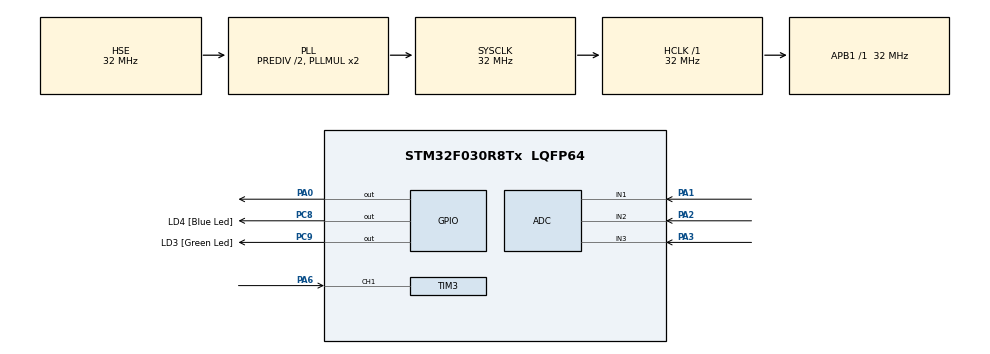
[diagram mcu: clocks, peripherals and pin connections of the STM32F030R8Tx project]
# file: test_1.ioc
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ADC.DMAContinuousRequests=DISABLE
ADC.EOCSelection=ADC_EOC_SEQ_CONV
ADC.ExternalTrigConv=ADC_EXTERNALTRIGCONV_T15_TRGO
ADC.SamplingTime=ADC_SAMPLETIME_13CYCLES_5
Dma.ADC.0.Direction=DMA_PERIPH_TO_MEMORY
Dma.ADC.0.Instance=DMA1_Channel1
Dma.ADC.0.MemDataAlignment=DMA_MDATAALIGN_HALFWORD
Dma.ADC.0.MemInc=DMA_MINC_ENABLE
Dma.ADC.0.Mode=DMA_CIRCULAR
Dma.ADC.0.PeriphDataAlignment=DMA_PDATAALIGN_HALFWORD
Dma.ADC.0.PeriphInc=DMA_PINC_DISABLE
Dma.ADC.0.Priority=DMA_PRIORITY_LOW
Dma.Request0=ADC
Mcu.Family=STM32F0
Mcu.Name=STM32F030R8Tx
Mcu.Package=LQFP64
NVIC.DMA1_Channel1_IRQn=true\:0\:0\:false\:false\:true\:false\:true\:true
NVIC.TIM15_IRQn=true\:0\:0\:false\:false\:true\:true\:true\:true
NVIC.TIM3_IRQn=true\:0\:0\:false\:false\:true\:true\:true\:true
PA0.GPIO_Speed=GPIO_SPEED_FREQ_HIGH
PA0.PinState=GPIO_PIN_RESET
PA0.Signal=GPIO_Output
PA1.Mode=IN1
PA1.Signal=ADC_IN1
PA13.GPIO_Label=SWDIO
PA13.Mode=Serial_Wire
PA13.Signal=SYS_SWDIO
PA14.GPIO_Label=SWCLK
PA14.Mode=Serial_Wire
PA14.Signal=SYS_SWCLK
PA2.Mode=IN2
PA2.Signal=ADC_IN2
PA3.Mode=IN3
PA3.Signal=ADC_IN3
PA6.Signal=S_TIM3_CH1
PC8.GPIO_Label=LD4 [Blue Led]
PC8.Signal=GPIO_Output
PC9.GPIO_Label=LD3 [Green Led]
PC9.Signal=GPIO_Output
PF0-OSC_IN.Mode=HSE-External-Oscillator
PF0-OSC_IN.Signal=RCC_OSC_IN
PF1-OSC_OUT.Mode=HSE-External-Oscillator
PF1-OSC_OUT.Signal=RCC_OSC_OUT
ProjectManager.HeapSize=0x200
ProjectManager.StackSize=0x400
ProjectManager.TargetToolchain=STM32CubeIDE
RCC.AHBFreq_Value=32000000
RCC.APB1Freq_Value=32000000
RCC.APB1TimFreq_Value=32000000
RCC.HCLKFreq_Value=32000000
RCC.HSE_VALUE=32000000
RCC.PLLDivider=RCC_PREDIV_DIV2
RCC.PLLSourceVirtual=RCC_PLLSOURCE_HSE
RCC.SYSCLKFreq_VALUE=32000000
RCC.SYSCLKSource=RCC_SYSCLKSOURCE_PLLCLK
SH.S_TIM3_CH1.0=TIM3_CH1,Input_Capture1_from_TI1
SH.S_TIM3_CH1.1=TIM3_CH1,Input_Capture2_from_TI1
TIM15.Period=1
TIM15.Prescaler=1999
TIM15.TIM_MasterOutputTrigger=TIM_TRGO_UPDATE
TIM3.Channel-Input_Capture1_from_TI1=TIM_CHANNEL_1
TIM3.Channel-Input_Capture2_from_TI1=TIM_CHANNEL_2
TIM3.ICPolarity_CH2=TIM_INPUTCHANNELPOLARITY_FALLING
TIM3.Period=65535
TIM3.Prescaler=7
VP_TIM15_VS_ClockSourceINT.Mode=Internal
VP_TIM3_VS_ClockSourceINT.Mode=Internal
board=32F0308DISCOVERY

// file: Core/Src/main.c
/* USER CODE BEGIN Header */
/**
  ******************************************************************************
  * @file           : main.c
  * @brief          : Main program body
  ******************************************************************************
  * @attention
  *
  * <h2><center>&copy; Copyright (c) 2022 STMicroelectronics.
  * All rights reserved.</center></h2>
  *
  * This software component is licensed by ST under BSD 3-Clause license,
  * the "License"; You may not use this file except in compliance with the
  * License. You may obtain a copy of the License at:
  *                        opensource.org/licenses/BSD-3-Clause
  *
  ******************************************************************************
  */
/* USER CODE END Header */

#include "main.h"

/* USER CODE BEGIN Includes */

#include <math.h>

/* USER CODE END Includes */

ADC_HandleTypeDef hadc;
DMA_HandleTypeDef hdma_adc;

TIM_HandleTypeDef htim3;
TIM_HandleTypeDef htim15;

/* USER CODE BEGIN PV */
uint16_t adc_val[3] = { 0, 0, 0 }; //Показания АЦП

/* Расчет действующего значения напряжения фаз */
float u_rms[3] = { 0.0, 0.0, 0.0 }; //Действующее значение напряжение фазы

uint32_t u_mom_2[3] = { 0, 0, 0 }; //Квадрат мгновенного значения напряжения
uint32_t u_mom_2_sum[3] = { 0, 0, 0 }; //Сумма квадратов мгновенных значений напряжения
uint32_t u_mom_2_sum_curr[3] = { 0, 0, 0 }; //Текущая сумма квадратов мгновенных значений напряжения
uint32_t u_mom_2_sum_prev[3] = { 0, 0, 0 }; //Предыдущая сумма квадратов мгновенных значений напряжения
/* Конец расчета действующего значения напряжения фазы */

/* Расчет действующего линейного значения напряжения фаз */
float u_l[3] = { 0.0, 0.0, 0.0 }; //Действующее линейное значение напряжение фазы

int32_t u_mom_diff_2[3] = { 0, 0, 0 }; //Квадрат разности мгновенных значений напряжения фаз
int32_t u_mom_diff_2_sum[3] = { 0, 0, 0 }; //Сумма квадратов разности мгновенных значений напряжения фаз
int32_t u_mom_diff_2_sum_curr[3] = { 0, 0, 0 }; //Текущая сумма квадратов разности мгновенных значений напряжения фаз
int32_t u_mom_diff_2_sum_prev[3] = { 0, 0, 0 }; //Предыдущая сумма квадратов разности мгновенных значений напряжения фаз
/* Конец расчета линейного действующего значения напряжения фаз */

uint16_t num_of_meas[3] = { 0, 0, 0 }; //Количество измерений
uint16_t num_of_meas_curr[3] = { 0, 0, 0 }; //Текущее количество измерений
uint16_t num_of_meas_prev[3] = { 0, 0, 0 }; //Предыдущее количество измерений

uint16_t dead_zone_2 = 400; //Квадрат мертвой зоны около опорного напряжения
uint8_t dead_zone_flag[3] = { 0, 0, 0 }; //Флаг перехода измерения в мертвую зону

/* Расчет частоты */
float freq[3] = { 0, 0, 0 }; //Частота
float freq_filt[3] = { 0, 0, 0 }; //Частота отфильтрованная по верхней и нижней границе чувствительности

uint8_t freq_lim_upp = 60; //Верхняя граница чувствительности по частоте Гц
uint8_t freq_lim_low = 40; //Нижняя граница чувствительности по частоте Гц

uint16_t freq_num_of_meas[3] = { 0, 0, 0 }; //Количество измерений для измерения частоты
uint16_t freq_num_of_meas_curr[3] = { 0, 0, 0 }; //Текущее количество измерений для измерения частоты

float prev_freq[3] = { 0, 0, 0 }; //Предыдущая частота
float freq_view[3] = { 0, 0, 0 }; //Вывод частоты

uint16_t freq_hits_num = 0; //Количество совпадений частоты
/* Конец расчета частоты */

uint8_t flag_calc[3] = { 0, 0, 0 }; //Флаг разрешения вычислений

int32_t period = 0;
int32_t pulse_width = 0;
float fr = 0; //Вывод частоты

/* USER CODE END PV */

void SystemClock_Config(void);
static void MX_GPIO_Init(void);
static void MX_DMA_Init(void);
static void MX_ADC_Init(void);
static void MX_TIM15_Init(void);
static void MX_TIM3_Init(void);

/* USER CODE BEGIN 0 */

/* Обработка показаний ацп */
void adc_processing (uint8_t phase)
{
  /* Если измерение больше запрещенной зоны */
  if (u_mom_2[phase] > dead_zone_2)
    {
      if (dead_zone_flag[phase] == 1)
	{
	  dead_zone_flag[phase] = 0;
	  if (flag_calc[phase] == 0)
	    {
	      flag_calc[phase] = 1;

	      u_mom_2_sum_curr[phase] = u_mom_2_sum[phase];
	      u_mom_diff_2_sum_curr[phase] = u_mom_diff_2_sum[phase];
	      freq_num_of_meas_curr[phase] = freq_num_of_meas[phase];
	      num_of_meas_curr[phase] = num_of_meas[phase];
	    }

	  u_mom_2_sum[phase] = 0;
	  u_mom_diff_2_sum[phase] = 0;
	  num_of_meas[phase] = 0;
	  freq_num_of_meas[phase] = 0;
	}

      if (dead_zone_flag[phase] == 0)
	{
	  u_mom_diff_2_sum[phase] += u_mom_diff_2[phase];
	  u_mom_2_sum[phase] += u_mom_2[phase];
	  ++num_of_meas[phase];
	}
    }
  /* Если измерение меньше запрещенной зоны */
  else
    {
      dead_zone_flag[phase] = 1;
      ++freq_num_of_meas[phase];
    }
}

void adc_processing_1 ()
{
  if (num_of_meas[0] < 200)
    {
      u_mom_diff_2_sum[0] += u_mom_diff_2[0];
      u_mom_diff_2_sum[1] += u_mom_diff_2[1];
      u_mom_diff_2_sum[2] += u_mom_diff_2[2];

      u_mom_2_sum[0] += u_mom_2[0];
      u_mom_2_sum[1] += u_mom_2[1];
      u_mom_2_sum[2] += u_mom_2[2];

      ++num_of_meas[0];
    }
  if (num_of_meas[0] == 200)
      {
	u_rms[0] = (sqrt (u_mom_2_sum[0] / num_of_meas[0])) * 0.204;
	u_rms[1] = (sqrt (u_mom_2_sum[1] / num_of_meas[1])) * 0.204;
	u_rms[2] = (sqrt (u_mom_2_sum[2] / num_of_meas[2])) * 0.204;

	u_l[0] = (sqrt (u_mom_diff_2_sum[0] / num_of_meas[0])) * 0.204;
        u_l[1] = (sqrt (u_mom_diff_2_sum[1] / num_of_meas[1])) * 0.204;
        u_l[2] = (sqrt (u_mom_diff_2_sum[2] / num_of_meas[2])) * 0.204;

        u_mom_diff_2_sum[0] = 0;
        u_mom_diff_2_sum[1] = 0;
        u_mom_diff_2_sum[2] = 0;
        u_mom_2_sum[0] = 0;
        u_mom_2_sum[1] = 0;
        u_mom_2_sum[2] = 0;
        num_of_meas[0] = 0;
      }
}

/* Расчет фазных и линейных напряжений */
void calculation (uint8_t phase)
{

  freq[phase] = 4000 / (float) (freq_num_of_meas_curr[phase] + num_of_meas_curr[phase]);

  if (freq[phase] > freq_lim_low && freq[phase] < freq_lim_upp)
    {
      u_rms[phase] = (sqrt ((u_mom_2_sum_curr[phase] + u_mom_2_sum_prev[phase]) / (num_of_meas_curr[phase] + num_of_meas_prev[phase]))) * 0.204;
      u_l[phase] = (sqrt ((u_mom_diff_2_sum_curr[phase] + u_mom_diff_2_sum_prev[phase]) / (num_of_meas_curr[phase] + num_of_meas_prev[phase]))) * 0.204;
      freq_filt[phase] = freq[phase];
    }

  u_mom_2_sum_prev[phase] = u_mom_2_sum_curr[phase];
  u_mom_diff_2_sum_prev[phase] = u_mom_diff_2_sum_curr[phase];
  num_of_meas_prev[phase] = num_of_meas_curr[phase];

  flag_calc[phase] = 0;
}

/* Фильтрация частоты */
void freq_filtering (uint8_t phase)
{
  if (freq_hits_num == 0)
    {
      prev_freq[phase] = freq_filt[phase];
      ++freq_hits_num;
    }
  if (freq_filt[phase] == prev_freq[phase] && freq_hits_num != 0)
    {
      prev_freq[phase] = freq_filt[phase];
      ++freq_hits_num;
    }

  if (freq_filt[phase] != prev_freq[phase] && freq_hits_num != 0)
    {
      prev_freq[phase] = freq_filt[phase];
      freq_hits_num = 0;
    }

  if (freq_hits_num  == 1050)
    {
      freq_view[phase] = prev_freq[phase];
      freq_hits_num = 0;
    }
}

void freq_filtering_1 (uint8_t phase)
{
  if (freq_hits_num == 0)
    {
      prev_freq[phase] = fr;
      ++freq_hits_num;
    }
  if (fr == prev_freq[phase] && freq_hits_num != 0)
    {
      prev_freq[phase] = fr;
      ++freq_hits_num;
    }

  if (fr != prev_freq[phase] && freq_hits_num != 0)
    {
      prev_freq[phase] = fr;
      freq_hits_num = 0;
    }

  if (freq_hits_num  == 10)
    {
      freq_view[phase] = prev_freq[phase];
      freq_hits_num = 0;
    }
}

/* USER CODE END 0 */

int main(void)
{

  /* MCU Configuration--------------------------------------------------------*/

  /* Reset of all peripherals, Initializes the Flash interface and the Systick. */
  HAL_Init();

  /* Configure the system clock */
  SystemClock_Config();

  /* Initialize all configured peripherals */
  MX_GPIO_Init();
  MX_DMA_Init();
  MX_ADC_Init();
  MX_TIM15_Init();
  MX_TIM3_Init();
  /* USER CODE BEGIN 2 */

  HAL_ADCEx_Calibration_Start(&hadc);
  HAL_ADC_Start_DMA(&hadc, (uint32_t *)adc_val, 3);

  HAL_TIM_Base_Start(&htim15);
  HAL_TIM_Base_Start_IT(&htim15);

  HAL_TIM_IC_Start_IT(&htim3, TIM_CHANNEL_1);
  HAL_TIM_IC_Start_IT(&htim3, TIM_CHANNEL_2);

  /* USER CODE END 2 */

  /* Infinite loop */
  /* USER CODE BEGIN WHILE */
  while (1)
    {

      if (flag_calc[0] == 1 && flag_calc[1] == 1  && flag_calc[2] == 1)
      	{
	  calculation(0);
	  calculation(1);
	  calculation(2);
      	}

    /* USER CODE END WHILE */

    }
}

void SystemClock_Config(void)
{
  RCC_OscInitTypeDef RCC_OscInitStruct = {0};
  RCC_ClkInitTypeDef RCC_ClkInitStruct = {0};

  /** Initializes the CPU, AHB and APB busses clocks
  */
  RCC_OscInitStruct.OscillatorType = RCC_OSCILLATORTYPE_HSI14|RCC_OSCILLATORTYPE_HSE;
  RCC_OscInitStruct.HSEState = RCC_HSE_ON;
  RCC_OscInitStruct.HSI14State = RCC_HSI14_ON;
  RCC_OscInitStruct.HSI14CalibrationValue = 16;
  RCC_OscInitStruct.PLL.PLLState = RCC_PLL_ON;
  RCC_OscInitStruct.PLL.PLLSource = RCC_PLLSOURCE_HSE;
  RCC_OscInitStruct.PLL.PLLMUL = RCC_PLL_MUL2;
  RCC_OscInitStruct.PLL.PREDIV = RCC_PREDIV_DIV2;
  if (HAL_RCC_OscConfig(&RCC_OscInitStruct) != HAL_OK)
  {
    Error_Handler();
  }
  /** Initializes the CPU, AHB and APB busses clocks
  */
  RCC_ClkInitStruct.ClockType = RCC_CLOCKTYPE_HCLK|RCC_CLOCKTYPE_SYSCLK
                              |RCC_CLOCKTYPE_PCLK1;
  RCC_ClkInitStruct.SYSCLKSource = RCC_SYSCLKSOURCE_PLLCLK;
  RCC_ClkInitStruct.AHBCLKDivider = RCC_SYSCLK_DIV1;
  RCC_ClkInitStruct.APB1CLKDivider = RCC_HCLK_DIV1;

  if (HAL_RCC_ClockConfig(&RCC_ClkInitStruct, FLASH_LATENCY_1) != HAL_OK)
  {
    Error_Handler();
  }
}

static void MX_ADC_Init(void)
{

  ADC_ChannelConfTypeDef sConfig = {0};

  /** Configure the global features of the ADC (Clock, Resolution, Data Alignment and number of conversion)
  */
  hadc.Instance = ADC1;
  hadc.Init.ClockPrescaler = ADC_CLOCK_ASYNC_DIV1;
  hadc.Init.Resolution = ADC_RESOLUTION_12B;
  hadc.Init.DataAlign = ADC_DATAALIGN_RIGHT;
  hadc.Init.ScanConvMode = ADC_SCAN_DIRECTION_FORWARD;
  hadc.Init.EOCSelection = ADC_EOC_SEQ_CONV;
  hadc.Init.LowPowerAutoWait = DISABLE;
  hadc.Init.LowPowerAutoPowerOff = DISABLE;
  hadc.Init.ContinuousConvMode = DISABLE;
  hadc.Init.DiscontinuousConvMode = DISABLE;
  hadc.Init.ExternalTrigConv = ADC_EXTERNALTRIGCONV_T15_TRGO;
  hadc.Init.ExternalTrigConvEdge = ADC_EXTERNALTRIGCONVEDGE_RISING;
  hadc.Init.DMAContinuousRequests = DISABLE;
  hadc.Init.Overrun = ADC_OVR_DATA_PRESERVED;
  if (HAL_ADC_Init(&hadc) != HAL_OK)
  {
    Error_Handler();
  }
  /** Configure for the selected ADC regular channel to be converted.
  */
  sConfig.Channel = ADC_CHANNEL_1;
  sConfig.Rank = ADC_RANK_CHANNEL_NUMBER;
  sConfig.SamplingTime = ADC_SAMPLETIME_13CYCLES_5;
  if (HAL_ADC_ConfigChannel(&hadc, &sConfig) != HAL_OK)
  {
    Error_Handler();
  }
  /** Configure for the selected ADC regular channel to be converted.
  */
  sConfig.Channel = ADC_CHANNEL_2;
  if (HAL_ADC_ConfigChannel(&hadc, &sConfig) != HAL_OK)
  {
    Error_Handler();
  }
  /** Configure for the selected ADC regular channel to be converted.
  */
  sConfig.Channel = ADC_CHANNEL_3;
  if (HAL_ADC_ConfigChannel(&hadc, &sConfig) != HAL_OK)
  {
    Error_Handler();
  }

}

static void MX_TIM3_Init(void)
{

  TIM_ClockConfigTypeDef sClockSourceConfig = {0};
  TIM_MasterConfigTypeDef sMasterConfig = {0};
  TIM_IC_InitTypeDef sConfigIC = {0};

  htim3.Instance = TIM3;
  htim3.Init.Prescaler = 15;
  htim3.Init.CounterMode = TIM_COUNTERMODE_UP;
  htim3.Init.Period = 64999;
  htim3.Init.ClockDivision = TIM_CLOCKDIVISION_DIV1;
  htim3.Init.AutoReloadPreload = TIM_AUTORELOAD_PRELOAD_DISABLE;
  if (HAL_TIM_Base_Init(&htim3) != HAL_OK)
  {
    Error_Handler();
  }
  sClockSourceConfig.ClockSource = TIM_CLOCKSOURCE_INTERNAL;
  if (HAL_TIM_ConfigClockSource(&htim3, &sClockSourceConfig) != HAL_OK)
  {
    Error_Handler();
  }
  if (HAL_TIM_IC_Init(&htim3) != HAL_OK)
  {
    Error_Handler();
  }
  sMasterConfig.MasterOutputTrigger = TIM_TRGO_RESET;
  sMasterConfig.MasterSlaveMode = TIM_MASTERSLAVEMODE_DISABLE;
  if (HAL_TIMEx_MasterConfigSynchronization(&htim3, &sMasterConfig) != HAL_OK)
  {
    Error_Handler();
  }
  sConfigIC.ICPolarity = TIM_INPUTCHANNELPOLARITY_RISING;
  sConfigIC.ICSelection = TIM_ICSELECTION_DIRECTTI;
  sConfigIC.ICPrescaler = TIM_ICPSC_DIV1;
  sConfigIC.ICFilter = 0;
  if (HAL_TIM_IC_ConfigChannel(&htim3, &sConfigIC, TIM_CHANNEL_1) != HAL_OK)
  {
    Error_Handler();
  }
  sConfigIC.ICPolarity = TIM_INPUTCHANNELPOLARITY_FALLING;
  sConfigIC.ICSelection = TIM_ICSELECTION_INDIRECTTI;
  if (HAL_TIM_IC_ConfigChannel(&htim3, &sConfigIC, TIM_CHANNEL_2) != HAL_OK)
  {
    Error_Handler();
  }

}

static void MX_TIM15_Init(void)
{

  TIM_ClockConfigTypeDef sClockSourceConfig = {0};
  TIM_MasterConfigTypeDef sMasterConfig = {0};

  htim15.Instance = TIM15;
  htim15.Init.Prescaler = 1999;
  htim15.Init.CounterMode = TIM_COUNTERMODE_UP;
  htim15.Init.Period = 1;
  htim15.Init.ClockDivision = TIM_CLOCKDIVISION_DIV1;
  htim15.Init.RepetitionCounter = 0;
  htim15.Init.AutoReloadPreload = TIM_AUTORELOAD_PRELOAD_DISABLE;
  if (HAL_TIM_Base_Init(&htim15) != HAL_OK)
  {
    Error_Handler();
  }
  sClockSourceConfig.ClockSource = TIM_CLOCKSOURCE_INTERNAL;
  if (HAL_TIM_ConfigClockSource(&htim15, &sClockSourceConfig) != HAL_OK)
  {
    Error_Handler();
  }
  sMasterConfig.MasterOutputTrigger = TIM_TRGO_UPDATE;
  sMasterConfig.MasterSlaveMode = TIM_MASTERSLAVEMODE_DISABLE;
  if (HAL_TIMEx_MasterConfigSynchronization(&htim15, &sMasterConfig) != HAL_OK)
  {
    Error_Handler();
  }

}

static void MX_DMA_Init(void)
{
  /* DMA controller clock enable */
  __HAL_RCC_DMA1_CLK_ENABLE();

  /* DMA interrupt init */
  /* DMA1_Channel1_IRQn interrupt configuration */
  HAL_NVIC_SetPriority(DMA1_Channel1_IRQn, 0, 0);
  HAL_NVIC_EnableIRQ(DMA1_Channel1_IRQn);

}

static void MX_GPIO_Init(void)
{
  GPIO_InitTypeDef GPIO_InitStruct = {0};

  /* GPIO Ports Clock Enable */
  __HAL_RCC_GPIOF_CLK_ENABLE();
  __HAL_RCC_GPIOA_CLK_ENABLE();
  __HAL_RCC_GPIOC_CLK_ENABLE();

  /*Configure GPIO pin Output Level */
  HAL_GPIO_WritePin(GPIOA, GPIO_PIN_0, GPIO_PIN_RESET);

  /*Configure GPIO pin Output Level */
  HAL_GPIO_WritePin(GPIOC, LD4_Pin|LD3_Pin, GPIO_PIN_RESET);

  /*Configure GPIO pin : PA0 */
  GPIO_InitStruct.Pin = GPIO_PIN_0;
  GPIO_InitStruct.Mode = GPIO_MODE_OUTPUT_PP;
  GPIO_InitStruct.Pull = GPIO_NOPULL;
  GPIO_InitStruct.Speed = GPIO_SPEED_FREQ_HIGH;
  HAL_GPIO_Init(GPIOA, &GPIO_InitStruct);

  /*Configure GPIO pins : LD4_Pin LD3_Pin */
  GPIO_InitStruct.Pin = LD4_Pin|LD3_Pin;
  GPIO_InitStruct.Mode = GPIO_MODE_OUTPUT_PP;
  GPIO_InitStruct.Pull = GPIO_NOPULL;
  GPIO_InitStruct.Speed = GPIO_SPEED_FREQ_LOW;
  HAL_GPIO_Init(GPIOC, &GPIO_InitStruct);

}

/* USER CODE BEGIN 4 */
void HAL_ADC_ConvCpltCallback(ADC_HandleTypeDef* hadc)
{
  u_mom_2[0] = (adc_val[0] - 2017) * (adc_val[0] - 2017);
  u_mom_2[1] = (adc_val[1] - 2017) * (adc_val[1] - 2017);
  u_mom_2[2] = (adc_val[2] - 2017) * (adc_val[2] - 2017);

  u_mom_diff_2[0] = (adc_val[0] - adc_val[1]) * (adc_val[0] - adc_val[1]);
  u_mom_diff_2[1] = (adc_val[1] - adc_val[2]) * (adc_val[1] - adc_val[2]);
  u_mom_diff_2[2] = (adc_val[2] - adc_val[0]) * (adc_val[2] - adc_val[0]);

  adc_processing (0);
  adc_processing (1);
  adc_processing (2);

  HAL_ADC_Start_DMA(hadc, (uint32_t *)adc_val, 3);
}

void HAL_TIM_IC_CaptureCallback (TIM_HandleTypeDef *htim)
{
  if (htim->Instance == TIM3)
    {
      if (htim->Channel == HAL_TIM_ACTIVE_CHANNEL_1)
	{
	  TIM3->CNT = 0;

	  period = HAL_TIM_ReadCapturedValue (&htim3, TIM_CHANNEL_1);
	  pulse_width = HAL_TIM_ReadCapturedValue (&htim3, TIM_CHANNEL_2);
	  fr = 1000000.0/(float)(period/2);
	  freq_filtering_1 (0);
	}
    }
}

/* USER CODE END 4 */

void Error_Handler(void)
{
}

/************************ (C) COPYRIGHT STMicroelectronics *****END OF FILE****/
